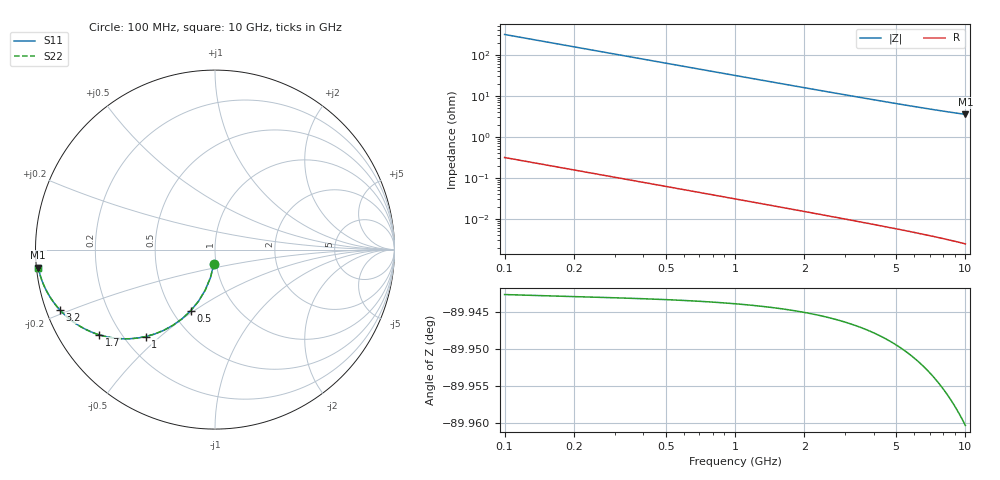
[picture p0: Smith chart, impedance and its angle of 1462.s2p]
# Hz S RI R 50.00
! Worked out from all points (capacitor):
!   100 points, 100 MHz to 10 GHz, reference 50 ohm
!   read as one part in shunt: C = 5.06 pF near 100 MHz
!   lowest |Z| = 3.55 ohm at 10 GHz (marker M1)
!   S11 on the Smith chart (normalised r, x): 100 MHz: 0.98, -0.15; 500 MHz: 0.61, -0.49; 1 GHz: 0.29, -0.45; 1.7 GHz: 0.12, -0.32; 3.2 GHz: 0.04, -0.19; 10 GHz: 0.01, -0.05
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1e8  -0.00632 -0.0787  0.9936 -0.0791  0.9936 -0.0791  -0.00632 -0.0787
2e8  -0.0247 -0.1545  0.9752 -0.1553  0.9752 -0.1553  -0.0247 -0.1545
3e8  -0.0539 -0.2248  0.946 -0.2259  0.946 -0.2259  -0.0539 -0.2248
4e8  -0.0919 -0.2876  0.9081 -0.2891  0.9081 -0.2891  -0.0919 -0.2876
5e8  -0.1364 -0.3418  0.8636 -0.3436  0.8636 -0.3436  -0.1364 -0.3418
6e8  -0.1852 -0.3869  0.8148 -0.389  0.8148 -0.389  -0.1852 -0.3869
7e8  -0.2361 -0.423  0.7638 -0.4255  0.7638 -0.4255  -0.2361 -0.423
8e8  -0.2875 -0.4507  0.7124 -0.4536  0.7124 -0.4536  -0.2875 -0.4507
1e9  -0.3865 -0.4846  0.6134 -0.4883  0.6134 -0.4883  -0.3865 -0.4846
1.3e9  -0.5153 -0.4969  0.4846 -0.5016  0.4846 -0.5016  -0.5153 -0.4969
1.7e9  -0.6449 -0.4749  0.3551 -0.4811  0.3551 -0.4811  -0.6449 -0.4749
1.8e9  -0.6705 -0.4662  0.3294 -0.4728  0.3294 -0.4728  -0.6705 -0.4662
2.1e9  -0.7346 -0.4372  0.2653 -0.4449  0.2653 -0.4449  -0.7346 -0.4372
2.4e9  -0.7832 -0.4071  0.2167 -0.4159  0.2167 -0.4159  -0.7832 -0.4071
2.8e9  -0.8309 -0.3691  0.1689 -0.3794  0.1689 -0.3794  -0.8309 -0.3691
3.2e9  -0.8652 -0.335  0.1347 -0.3468  0.1347 -0.3468  -0.8652 -0.335
3.4e9  -0.8787 -0.3195  0.1211 -0.3321  0.1211 -0.3321  -0.8787 -0.3195
4.2e9  -0.9171 -0.2671  0.0827 -0.2829  0.0827 -0.2829  -0.9171 -0.2671
5.1e9  -0.9424 -0.2226  0.0573 -0.2419  0.0573 -0.2419  -0.9424 -0.2226
6.7e9  -0.9661 -0.1671  0.0335 -0.1929  0.0335 -0.1929  -0.9661 -0.1671
8.4e9  -0.9784 -0.1273  0.021 -0.1604  0.021 -0.1604  -0.9784 -0.1273
1e10  -0.9848 -0.0999  0.0143 -0.1401  0.0143 -0.1401  -0.9848 -0.0999
